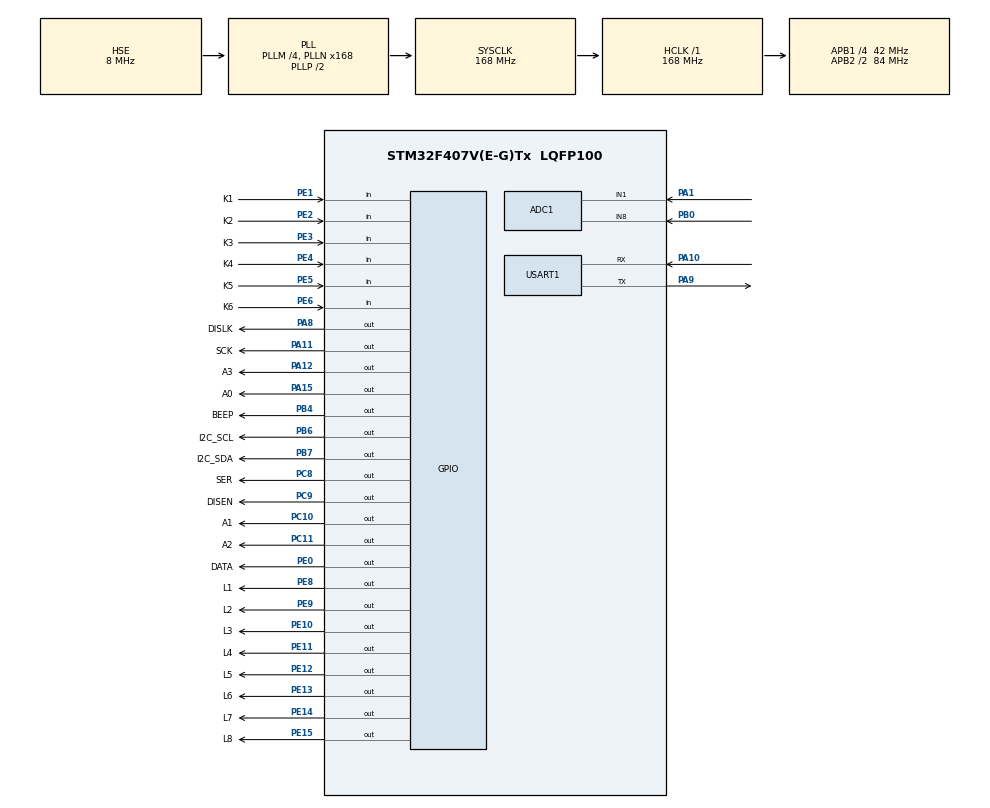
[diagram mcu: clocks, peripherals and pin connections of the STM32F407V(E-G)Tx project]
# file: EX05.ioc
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ADC1.Channel-0\#ChannelRegularConversion=ADC_CHANNEL_8
ADC1.Channel-1\#ChannelRegularConversion=ADC_CHANNEL_1
ADC1.ContinuousConvMode=ENABLE
ADC1.DMAContinuousRequests=ENABLE
ADC1.DiscontinuousConvMode=DISABLE
ADC1.NbrOfConversion=2
ADC1.NbrOfConversionFlag=1
ADC1.Rank-0\#ChannelRegularConversion=1
ADC1.Rank-1\#ChannelRegularConversion=2
ADC1.SamplingTime-0\#ChannelRegularConversion=ADC_SAMPLETIME_480CYCLES
ADC1.SamplingTime-1\#ChannelRegularConversion=ADC_SAMPLETIME_480CYCLES
ADC1.ScanConvMode=ENABLE
ADC1.master=1
Dma.ADC1.1.Direction=DMA_PERIPH_TO_MEMORY
Dma.ADC1.1.FIFOMode=DMA_FIFOMODE_DISABLE
Dma.ADC1.1.Instance=DMA2_Stream0
Dma.ADC1.1.MemDataAlignment=DMA_MDATAALIGN_HALFWORD
Dma.ADC1.1.MemInc=DMA_MINC_ENABLE
Dma.ADC1.1.Mode=DMA_CIRCULAR
Dma.ADC1.1.PeriphDataAlignment=DMA_PDATAALIGN_HALFWORD
Dma.ADC1.1.PeriphInc=DMA_PINC_DISABLE
Dma.ADC1.1.Priority=DMA_PRIORITY_LOW
Dma.Request0=USART1_RX
Dma.Request1=ADC1
Dma.USART1_RX.0.Direction=DMA_PERIPH_TO_MEMORY
Dma.USART1_RX.0.FIFOMode=DMA_FIFOMODE_DISABLE
Dma.USART1_RX.0.Instance=DMA2_Stream2
Dma.USART1_RX.0.MemDataAlignment=DMA_MDATAALIGN_BYTE
Dma.USART1_RX.0.MemInc=DMA_MINC_ENABLE
Dma.USART1_RX.0.Mode=DMA_NORMAL
Dma.USART1_RX.0.PeriphDataAlignment=DMA_PDATAALIGN_BYTE
Dma.USART1_RX.0.PeriphInc=DMA_PINC_DISABLE
Dma.USART1_RX.0.Priority=DMA_PRIORITY_LOW
FREERTOS.Tasks01=TaskMAIN,24,256,StartTaskMAIN,Default,NULL,Dynamic,NULL,NULL;TaskLED,8,256,StartTaskLED,Default,NULL,Dynamic,NULL,NULL;TaskKEY,8,256,StartTaskKEY,Default,NULL,Dynamic,NULL,NULL;TaskGUI,8,128,StartTaskGUI,Default,NULL,Dynamic,NULL,NULL;TaskBEEP,8,128,StartTaskBEEP,Default,NULL,Dynamic,NULL,NULL
Mcu.Family=STM32F4
Mcu.Name=STM32F407V(E-G)Tx
Mcu.Package=LQFP100
NVIC.ADC_IRQn=true\:5\:0\:false\:false\:true\:true\:true\:true
NVIC.DMA2_Stream0_IRQn=true\:5\:0\:false\:false\:true\:true\:false\:true
NVIC.DMA2_Stream2_IRQn=true\:5\:0\:false\:false\:true\:true\:false\:true
NVIC.PriorityGroup=NVIC_PRIORITYGROUP_4
NVIC.TIM1_BRK_TIM9_IRQn=true\:0\:0\:false\:false\:true\:false\:false\:true
NVIC.TimeBase=TIM1_BRK_TIM9_IRQn
NVIC.TimeBaseIP=TIM9
NVIC.USART1_IRQn=true\:5\:0\:false\:false\:true\:true\:true\:true
PA1.Signal=ADCx_IN1
PA10.Mode=Asynchronous
PA10.Signal=USART1_RX
PA11.GPIO_Label=SCK
PA11.Signal=GPIO_Output
PA12.GPIO_Label=A3
PA12.Signal=GPIO_Output
PA13.Mode=Serial_Wire
PA13.Signal=SYS_JTMS-SWDIO
PA14.Mode=Serial_Wire
PA14.Signal=SYS_JTCK-SWCLK
PA15.GPIO_Label=A0
PA15.Signal=GPIO_Output
PA8.GPIO_Label=DISLK
PA8.Signal=GPIO_Output
PA9.Mode=Asynchronous
PA9.Signal=USART1_TX
PB0.Signal=ADCx_IN8
PB4.GPIO_Label=BEEP
PB4.Signal=GPIO_Output
PB6.GPIO_Label=I2C_SCL
PB6.Signal=GPIO_Output
PB7.GPIO_Label=I2C_SDA
PB7.Signal=GPIO_Output
PC10.GPIO_Label=A1
PC10.Signal=GPIO_Output
PC11.GPIO_Label=A2
PC11.Signal=GPIO_Output
PC8.GPIO_Label=SER
PC8.Signal=GPIO_Output
PC9.GPIO_Label=DISEN
PC9.Signal=GPIO_Output
PE0.GPIO_Label=DATA
PE0.Signal=GPIO_Output
PE1.GPIO_Label=K1
PE1.GPIO_PuPd=GPIO_PULLUP
PE1.Signal=GPIO_Input
PE10.GPIO_Label=L3
PE10.GPIO_ModeDefaultOutputPP=GPIO_MODE_OUTPUT_PP
PE10.GPIO_PuPd=GPIO_NOPULL
PE10.GPIO_Speed=GPIO_SPEED_FREQ_LOW
PE10.PinState=GPIO_PIN_SET
PE10.Signal=GPIO_Output
PE11.GPIO_Label=L4
PE11.GPIO_ModeDefaultOutputPP=GPIO_MODE_OUTPUT_PP
PE11.GPIO_PuPd=GPIO_NOPULL
PE11.GPIO_Speed=GPIO_SPEED_FREQ_LOW
PE11.PinState=GPIO_PIN_SET
PE11.Signal=GPIO_Output
PE12.GPIO_Label=L5
PE12.GPIO_ModeDefaultOutputPP=GPIO_MODE_OUTPUT_PP
PE12.GPIO_PuPd=GPIO_NOPULL
PE12.GPIO_Speed=GPIO_SPEED_FREQ_LOW
PE12.PinState=GPIO_PIN_SET
PE12.Signal=GPIO_Output
PE13.GPIO_Label=L6
PE13.GPIO_ModeDefaultOutputPP=GPIO_MODE_OUTPUT_PP
PE13.GPIO_PuPd=GPIO_NOPULL
PE13.GPIO_Speed=GPIO_SPEED_FREQ_LOW
PE13.PinState=GPIO_PIN_SET
PE13.Signal=GPIO_Output
PE14.GPIO_Label=L7
PE14.GPIO_ModeDefaultOutputPP=GPIO_MODE_OUTPUT_PP
PE14.GPIO_PuPd=GPIO_NOPULL
PE14.GPIO_Speed=GPIO_SPEED_FREQ_LOW
PE14.PinState=GPIO_PIN_SET
PE14.Signal=GPIO_Output
PE15.GPIO_Label=L8
PE15.GPIO_ModeDefaultOutputPP=GPIO_MODE_OUTPUT_PP
PE15.GPIO_PuPd=GPIO_NOPULL
PE15.GPIO_Speed=GPIO_SPEED_FREQ_LOW
PE15.PinState=GPIO_PIN_SET
PE15.Signal=GPIO_Output
PE2.GPIO_Label=K2
PE2.GPIO_PuPd=GPIO_PULLUP
PE2.Signal=GPIO_Input
PE3.GPIO_Label=K3
PE3.GPIO_PuPd=GPIO_PULLUP
PE3.Signal=GPIO_Input
PE4.GPIO_Label=K4
PE4.GPIO_PuPd=GPIO_PULLUP
PE4.Signal=GPIO_Input
PE5.GPIO_Label=K5
PE5.GPIO_PuPd=GPIO_PULLDOWN
PE5.Signal=GPIO_Input
PE6.GPIO_Label=K6
PE6.GPIO_PuPd=GPIO_PULLDOWN
PE6.Signal=GPIO_Input
PE8.GPIO_Label=L1
PE8.GPIO_ModeDefaultOutputPP=GPIO_MODE_OUTPUT_PP
PE8.GPIO_PuPd=GPIO_NOPULL
PE8.GPIO_Speed=GPIO_SPEED_FREQ_LOW
PE8.PinState=GPIO_PIN_SET
PE8.Signal=GPIO_Output
PE9.GPIO_Label=L2
PE9.GPIO_ModeDefaultOutputPP=GPIO_MODE_OUTPUT_PP
PE9.GPIO_PuPd=GPIO_NOPULL
PE9.GPIO_Speed=GPIO_SPEED_FREQ_LOW
PE9.PinState=GPIO_PIN_SET
PE9.Signal=GPIO_Output
PH0-OSC_IN.Mode=HSE-External-Oscillator
PH0-OSC_IN.Signal=RCC_OSC_IN
PH1-OSC_OUT.Mode=HSE-External-Oscillator
PH1-OSC_OUT.Signal=RCC_OSC_OUT
ProjectManager.HeapSize=0x200
ProjectManager.StackSize=0x400
ProjectManager.TargetToolchain=MDK-ARM V5.27
RCC.48MHZClocksFreq_Value=84000000
RCC.AHBFreq_Value=168000000
RCC.APB1CLKDivider=RCC_HCLK_DIV4
RCC.APB1Freq_Value=42000000
RCC.APB1TimFreq_Value=84000000
RCC.APB2CLKDivider=RCC_HCLK_DIV2
RCC.APB2Freq_Value=84000000
RCC.APB2TimFreq_Value=168000000
RCC.CortexFreq_Value=168000000
RCC.HCLKFreq_Value=168000000
RCC.HSE_VALUE=8000000
RCC.HSI_VALUE=16000000
RCC.LSE_VALUE=32768
RCC.PLLM=4
RCC.PLLN=168
RCC.PLLSourceVirtual=RCC_PLLSOURCE_HSE
RCC.SYSCLKFreq_VALUE=168000000
RCC.SYSCLKSource=RCC_SYSCLKSOURCE_PLLCLK
RCC.VCOOutputFreq_Value=336000000
SH.ADCx_IN1.0=ADC1_IN1,IN1
SH.ADCx_IN8.0=ADC1_IN8,IN8
USART1.VirtualMode=VM_ASYNC
VP_FREERTOS_VS_CMSIS_V2.Mode=CMSIS_V2
VP_SYS_VS_tim9.Mode=TIM9
board=custom

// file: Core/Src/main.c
/* USER CODE BEGIN Header */
/**
  ******************************************************************************
  * @file           : main.c
  * @brief          : Main program body
  ******************************************************************************
  * @attention
  *
  * <h2><center>&copy; Copyright (c) 2021 STMicroelectronics.
  * All rights reserved.</center></h2>
  *
  * This software component is licensed by ST under Ultimate Liberty license
  * SLA0044, the "License"; You may not use this file except in compliance with
  * the License. You may obtain a copy of the License at:
  *                             www.st.com/SLA0044
  *
  ******************************************************************************
  */
/* USER CODE END Header */
#include "main.h"
#include "cmsis_os.h"
#include "adc.h"
#include "dma.h"
#include "usart.h"
#include "gpio.h"

void SystemClock_Config(void);
void MX_FREERTOS_Init(void);

int main(void)
{

  /* MCU Configuration--------------------------------------------------------*/

  /* Reset of all peripherals, Initializes the Flash interface and the Systick. */
  HAL_Init();

  /* Configure the system clock */
  SystemClock_Config();

  /* Initialize all configured peripherals */
  MX_GPIO_Init();
  MX_DMA_Init();
  MX_USART1_UART_Init();
  MX_ADC1_Init();

  /* Init scheduler */
  osKernelInitialize();  /* Call init function for freertos objects (in freertos.c) */
  MX_FREERTOS_Init();
  /* Start scheduler */
  osKernelStart();

  /* We should never get here as control is now taken by the scheduler */
  /* Infinite loop */
  while (1)
  {

  }
}

void SystemClock_Config(void)
{
  RCC_OscInitTypeDef RCC_OscInitStruct = {0};
  RCC_ClkInitTypeDef RCC_ClkInitStruct = {0};

  /** Configure the main internal regulator output voltage
  */
  __HAL_RCC_PWR_CLK_ENABLE();
  __HAL_PWR_VOLTAGESCALING_CONFIG(PWR_REGULATOR_VOLTAGE_SCALE1);
  /** Initializes the RCC Oscillators according to the specified parameters
  * in the RCC_OscInitTypeDef structure.
  */
  RCC_OscInitStruct.OscillatorType = RCC_OSCILLATORTYPE_HSE;
  RCC_OscInitStruct.HSEState = RCC_HSE_ON;
  RCC_OscInitStruct.PLL.PLLState = RCC_PLL_ON;
  RCC_OscInitStruct.PLL.PLLSource = RCC_PLLSOURCE_HSE;
  RCC_OscInitStruct.PLL.PLLM = 4;
  RCC_OscInitStruct.PLL.PLLN = 168;
  RCC_OscInitStruct.PLL.PLLP = RCC_PLLP_DIV2;
  RCC_OscInitStruct.PLL.PLLQ = 4;
  if (HAL_RCC_OscConfig(&RCC_OscInitStruct) != HAL_OK)
  {
    Error_Handler();
  }
  /** Initializes the CPU, AHB and APB buses clocks
  */
  RCC_ClkInitStruct.ClockType = RCC_CLOCKTYPE_HCLK|RCC_CLOCKTYPE_SYSCLK
                              |RCC_CLOCKTYPE_PCLK1|RCC_CLOCKTYPE_PCLK2;
  RCC_ClkInitStruct.SYSCLKSource = RCC_SYSCLKSOURCE_PLLCLK;
  RCC_ClkInitStruct.AHBCLKDivider = RCC_SYSCLK_DIV1;
  RCC_ClkInitStruct.APB1CLKDivider = RCC_HCLK_DIV4;
  RCC_ClkInitStruct.APB2CLKDivider = RCC_HCLK_DIV2;

  if (HAL_RCC_ClockConfig(&RCC_ClkInitStruct, FLASH_LATENCY_5) != HAL_OK)
  {
    Error_Handler();
  }
}

 /**
  * @brief  Period elapsed callback in non blocking mode
  * @note   This function is called  when TIM9 interrupt took place, inside
  * HAL_TIM_IRQHandler(). It makes a direct call to HAL_IncTick() to increment
  * a global variable "uwTick" used as application time base.
  * @param  htim : TIM handle
  * @retval None
  */
void HAL_TIM_PeriodElapsedCallback(TIM_HandleTypeDef *htim)
{
  if (htim->Instance == TIM9) {
    HAL_IncTick();
  }
}

void Error_Handler(void)
{
  __disable_irq();
  while (1)
  {
  }
}

/************************ (C) COPYRIGHT STMicroelectronics *****END OF FILE****/

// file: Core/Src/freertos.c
/* USER CODE BEGIN Header */
/**
  ******************************************************************************
  * File Name          : freertos.c
  * Description        : Code for freertos applications
  ******************************************************************************
  * @attention
  *
  * <h2><center>&copy; Copyright (c) 2021 STMicroelectronics.
  * All rights reserved.</center></h2>
  *
  * This software component is licensed by ST under Ultimate Liberty license
  * SLA0044, the "License"; You may not use this file except in compliance with
  * the License. You may obtain a copy of the License at:
  *                             www.st.com/SLA0044
  *
  ******************************************************************************
  */
/* USER CODE END Header */

#include "FreeRTOS.h"
#include "task.h"
#include "main.h"
#include "cmsis_os.h"

/* USER CODE BEGIN Includes */
#include "DS18B20.h"
#include "usart.h"
#include "stdio.h"
#include "adc.h"
#include "util.h"
#include "GUI.h"

//usart
#include "string.h"

#include "led.h"
/* USER CODE END Includes */

/* USER CODE BEGIN PM */
#define UI_LOGO 0
#define UI_MAIN 1
#define UI_DATA  2
#define UI_TEMP_LINE  3
#define UI_MIC_LINE 4
#define UI_TOUCH_LINE 5

/* USER CODE END PM */

/* USER CODE BEGIN Variables */
extern GUI_FLASH const GUI_FONT GUI_FontHZ_KaiTi_24;
extern GUI_FLASH const GUI_FONT GUI_FontHZ_KaiTi_16;
extern GUI_FLASH const GUI_FONT GUI_FontHZ_KaiTi_12;
extern GUI_FLASH const GUI_FONT GUI_FontHZ_SimSun_16;
extern GUI_CONST_STORAGE GUI_BITMAP bm2;

uint16_t val[16];
uint16_t adval1;
uint16_t adval2;

float temp;
char temp_data[10] = {0};
char mic_data[10] = {0};

float temp_tab[128];
int temp_idx=0;
uint16_t mic_tab[128];
int mic_idx=0;

uint8_t g_ui_indx = UI_LOGO;
uint8_t g_ui_select = UI_DATA;

static uint8_t flag = 0;
static uint8_t logo_flag = 0;
uint16_t beep_time;
uint8_t  beep_tune;

//led
uint8_t led_run=1; //运行
uint8_t led_sta=0x01;
//key
extern uint8_t key_sta;

//uart
#define MAX_RECV_LEN 256
#define MAX_LINE_SIZE 22
#define MAX_PAGE_LINE 6

uint8_t rx1_buff[MAX_RECV_LEN] = {0};
uint8_t recv_buff[MAX_RECV_LEN] = {0};//接收字符串缓存
uint8_t *pBuf;
uint8_t line_flag = 0;
uint32_t recv_tick = 0;

char gui_uart_buff[MAX_LINE_SIZE*8*10] = {0};
char str_show[MAX_RECV_LEN] = {0};
uint8_t gui_uart_index = 0;

uint8_t sense = 0;

//报警延时
int cnt = 0;
int led_flag = 0;

/* USER CODE END Variables */
/* Definitions for TaskMAIN */
osThreadId_t TaskMAINHandle;
const osThreadAttr_t TaskMAIN_attributes = {
  .name = "TaskMAIN",
  .stack_size = 256 * 4,
  .priority = (osPriority_t) osPriorityNormal,
};
/* Definitions for TaskLED */
osThreadId_t TaskLEDHandle;
const osThreadAttr_t TaskLED_attributes = {
  .name = "TaskLED",
  .stack_size = 256 * 4,
  .priority = (osPriority_t) osPriorityLow,
};
/* Definitions for TaskKEY */
osThreadId_t TaskKEYHandle;
const osThreadAttr_t TaskKEY_attributes = {
  .name = "TaskKEY",
  .stack_size = 256 * 4,
  .priority = (osPriority_t) osPriorityLow,
};
/* Definitions for TaskGUI */
osThreadId_t TaskGUIHandle;
const osThreadAttr_t TaskGUI_attributes = {
  .name = "TaskGUI",
  .stack_size = 128 * 4,
  .priority = (osPriority_t) osPriorityLow,
};
/* Definitions for TaskBEEP */
osThreadId_t TaskBEEPHandle;
const osThreadAttr_t TaskBEEP_attributes = {
  .name = "TaskBEEP",
  .stack_size = 128 * 4,
  .priority = (osPriority_t) osPriorityLow,
};

/* USER CODE BEGIN FunctionPrototypes */
void DrawUILOGO();
void DrawUIMAIN();
void DrawUIDATA();
void DrawUITEMPLINE();
void DrawUIMICLINE();
void DrawUITOUCHLINE();

//key
void Key1Done();
void Key2Done();
void Key3Done();
void Key4Done();

//uart
void data_analyse(char old_str[MAX_RECV_LEN],char str_show[MAX_RECV_LEN],int len);
void StrFormat(char oldstr[MAX_RECV_LEN],char fmtstr[MAX_LINE_SIZE*8*10],int len);

void start_alarm(void);

/* USER CODE END FunctionPrototypes */

void StartTaskMAIN(void *argument);
void StartTaskLED(void *argument);
void StartTaskKEY(void *argument);
void StartTaskGUI(void *argument);
void StartTaskBEEP(void *argument);

void MX_FREERTOS_Init(void); /* (MISRA C 2004 rule 8.1) */

void MX_FREERTOS_Init(void) {

  /* Create the thread(s) */
  /* creation of TaskMAIN */
  TaskMAINHandle = osThreadNew(StartTaskMAIN, NULL, &TaskMAIN_attributes);

  /* creation of TaskLED */
  TaskLEDHandle = osThreadNew(StartTaskLED, NULL, &TaskLED_attributes);

  /* creation of TaskKEY */
  TaskKEYHandle = osThreadNew(StartTaskKEY, NULL, &TaskKEY_attributes);

  /* creation of TaskGUI */
  TaskGUIHandle = osThreadNew(StartTaskGUI, NULL, &TaskGUI_attributes);

  /* creation of TaskBEEP */
  TaskBEEPHandle = osThreadNew(StartTaskBEEP, NULL, &TaskBEEP_attributes);

}

void StartTaskMAIN(void *argument)
{
  /* USER CODE BEGIN StartTaskMAIN */
	ds18b20_init();

  /* Infinite loop */
	uint32_t tick = osKernelGetTickCount()+100;

	HAL_ADC_Start_DMA(&hadc1,(uint32_t*)val,16);
  for(;;)
  {
		if(osKernelGetTickCount() >= tick){
			tick = osKernelGetTickCount()+100;
			temp = ds18b20_read();
			printf("temp = %5.1f adcval1=%5d adcval2=%5d\r\n",temp,adval1,adval2);

			if(temp_idx<128){
				temp_tab[temp_idx++]=temp;
			}
			else{
				memcpy((void*)temp_tab,(void*)(temp_tab+1),sizeof(float*)*127);
				temp_tab[127]=temp;
			}
			if(mic_idx<128){
				mic_tab[mic_idx++]=temp;
			}
			else{
				memcpy((void*)mic_tab,(void*)(mic_tab+1),sizeof(uint16_t)*127);
				mic_tab[127]=adval2;
			}
		}

    osDelay(1);
  }
  /* USER CODE END StartTaskMAIN */
}

void StartTaskLED(void *argument)
{
  /* USER CODE BEGIN StartTaskLED */
  /* Infinite loop */
  for(;;)
  {
		if(led_flag == 1){
			cnt++;
			if(cnt>=20){
				cnt = 0;
				led_flag = 0;
				Set_leds(0x00);
			}

		}

    osDelay(500);
  }
  /* USER CODE END StartTaskLED */
}

void StartTaskKEY(void *argument)
{
  /* USER CODE BEGIN StartTaskKEY */
  /* Infinite loop */
	uint8_t key;
  /* Infinite loop */
  for(;;)
  {
		key=ScanKey();

		switch (key)
		{
			case KEY1:
				Key1Done();
				break;
			case KEY2:
				g_ui_indx = UI_MAIN;
				break;
			case KEY3:
				Key3Done();
				break;
			case KEY4:
				Key4Done();

				break;
			case KEY5:
				g_ui_indx = UI_LOGO;
				break;
			case KEY6:
				g_ui_indx = UI_MAIN;
				break;
			default:
				break;
		}
    osDelay(50);
  }
  /* USER CODE END StartTaskKEY */
}

void StartTaskGUI(void *argument)
{
  /* USER CODE BEGIN StartTaskGUI */
	GUI_Init();

  /* Infinite loop */
  for(;;)
  {
		switch (g_ui_indx)
    {
    	case UI_LOGO:
				DrawUILOGO();
    		break;
    	case UI_MAIN:
				DrawUIMAIN();
    		break;
			case UI_DATA:
				DrawUIDATA();
    		break;
    	case UI_TEMP_LINE:
				DrawUITEMPLINE();
    		break;
    	case UI_MIC_LINE:
				DrawUIMICLINE();
				break;
			case UI_TOUCH_LINE:
				DrawUITOUCHLINE();
    		break;
    	default:
    		break;
    }

    osDelay(1);
  }
  /* USER CODE END StartTaskGUI */
}

void StartTaskBEEP(void *argument)
{
  for(;;)
  {
    osDelay(1);
  }
}

/* USER CODE BEGIN Application */
void HAL_ADC_ConvCpltCallback(ADC_HandleTypeDef* hadc)
{
	static uint8_t idx = 0;
	if(hadc == &hadc1)
	{
		int sum1,sum2;
		sum1 = sum2 = 0;
		for(int i = 0;i<16;i+=2){
			sum1 += val[i];
			sum2 += val[i+1];
		}

		adval1 = sum1/8;
		adval2 = sum2/8;

	}

}

void bmp_show(void)
{
	if(!flag){
		GUI_DrawBitmap(&bm2,(128-bm2.XSize)/2,0);
		GUI_Update();
		osDelay(3000);
		GUI_Clear();

		GUI_SetFont(&GUI_FontHZ_KaiTi_16);
		GUI_DispStringAt("嵌入式系统实验\n 19042223\n 孙若松 ",0,0);

		GUI_Update();
		flag = 1;
	}

}

void DrawUILOGO()
{

		if(logo_flag == 0){
			GUI_Clear();
			GUI_DrawBitmap(&bm2,(128-bm2.XSize)/2,0);
			GUI_Update();
			osDelay(2000);
			GUI_Clear();
			logo_flag = 1;
		}

		GUI_Clear();
		GUI_SetFont(&GUI_FontHZ_KaiTi_16);
		GUI_DispStringAt("19042223\n 孙若松",0,0);
		GUI_Update();
		osDelay(2000);

		g_ui_indx = UI_MAIN;

}

void DrawUIMAIN()
{

		GUI_Clear();
		GUI_SetFont(&GUI_FontHZ_KaiTi_16);
		GUI_SetTextAlign(GUI_TA_CENTER);
		GUI_DispStringAt("主菜单",64,0);

		if(g_ui_select<=UI_DATA){
			GUI_SetFont(&GUI_FontHZ_KaiTi_12);
			GUI_DispStringAt("即时数据",20,20);
			GUI_DispStringAt((g_ui_select == UI_DATA)? "*" : " ",10,20);
			GUI_DispStringAt("温度曲线",20,34);
			GUI_DispStringAt((g_ui_select == UI_TEMP_LINE)? "*" : " ",10,34);
			GUI_DispStringAt("麦克风曲线",20,48);
			GUI_DispStringAt((g_ui_select == UI_MIC_LINE)? "*" : " ",10,48);
		}
		else{
			GUI_SetFont(&GUI_FontHZ_KaiTi_12);
			GUI_DispStringAt("温度曲线",20,20);
			GUI_DispStringAt((g_ui_select == UI_TEMP_LINE)? "*" : " ",10,20);
			GUI_DispStringAt("麦克风曲线",20,34);
			GUI_DispStringAt((g_ui_select == UI_MIC_LINE)? "*" : " ",10,34);
			GUI_DispStringAt("灵敏度设置",20,48);
			GUI_DispStringAt((g_ui_select == UI_TOUCH_LINE)? "*" : " ",10,48);
		}
		GUI_Update();

}

void DrawUIDATA()
{
		GUI_Clear();
		GUI_SetFont(&GUI_FontHZ_KaiTi_16);
		GUI_SetTextAlign(GUI_TA_CENTER);
		GUI_DispStringAt("即时数据",64,0);

		GUI_SetFont(&GUI_FontHZ_KaiTi_12);
		GUI_DispStringAt("温度",20,20);
		myftoa_FD(temp,temp_data,2);
		GUI_DispStringAt("度",90,20);
		GUI_DispStringAt(temp_data,50,20);

		GUI_DispStringAt("麦克风",20,40);
		myftoa_FD(adval1*3.3/4096,mic_data,2);
		GUI_DispStringAt("v",90,40);
		GUI_DispStringAt(mic_data,60,40);

		memset(mic_data,0,sizeof(mic_data));
		memset(mic_data,0,sizeof(mic_data));
		GUI_Update();

}

void DrawUITEMPLINE()
{
		GUI_Clear();
		GUI_SetFont(&GUI_FontHZ_KaiTi_16);
//		GUI_SetTextAlign(GUI_TA_CENTER);
		GUI_DispStringAt("温度数据曲线",0,0);

		float temp_min=22;
		float temp_max=25;
		float temp_mid = (temp_min+temp_max)/2;
		float temp_height = (temp_max-temp_min)/2;

		for(int i=1;i<temp_idx;++i){
			int h1 = 16+24-(temp_tab[i]-temp_mid)*24/temp_height;
			int h0 = 16+24-(temp_tab[i-1]-temp_mid)*24/temp_height;
			GUI_DrawLine(i-1,h0,i,h1);
//			GUI_DrawPixel(i,h1);
		}

		GUI_Update();
}

void DrawUIMICLINE()
{
		GUI_Clear();
		GUI_SetFont(&GUI_FontHZ_KaiTi_16);
//		GUI_SetTextAlign(GUI_TA_CENTER);
		GUI_DispStringAt("麦克风曲线",0,0);
		GUI_Update();
		float mic_min=0;
		float mic_max=4095;
		float mic_mid = (mic_min+mic_max)/2;
		float mic_height = (mic_max-mic_min)/2;

		for(int i=1;i<temp_idx;++i){
			int h1 = 16+24-(mic_tab[i]-mic_mid)*24/mic_height;
			int h0 = 16+24-(mic_tab[i-1]-mic_mid)*24/mic_height;
			GUI_DrawLine(i-1,h0,i,h1);
		}

		GUI_Update();

}

void DrawUITOUCHLINE()
{
		GUI_Clear();
		GUI_SetFont(&GUI_FontHZ_KaiTi_16);
//		GUI_SetTextAlign(GUI_TA_CENTER);
		GUI_DispStringAt("灵敏度设置",40,0);

		GUI_DispStringAt("灵敏度等级",40,20);

		GUI_DispCharAt(sense+'0',50,40);

		if((4000-sense*160)<=adval2&&sense!=0){
			start_alarm();
		}

		GUI_Update();

}

void beep(uint16_t time,uint8_t tune)
{
	beep_time = time+osKernelGetTickCount();
	beep_tune = tune;
}

//按键响应函数
void Key1Done()
{
	switch (g_ui_indx)
	{
		case UI_MAIN:
			if(g_ui_select>UI_DATA)
				-- g_ui_select;
			break;

		case UI_TOUCH_LINE:
			if(sense>0)
				sense-=1;
			break;

		default:
			break;
	}
}

void Key2Done()
{
	switch (g_ui_indx)
	{
		case UI_DATA:
			printf("KEY2\r\n");
			gui_uart_index = (gui_uart_index+1)%10;
			break;

		default:
			break;
	}
}

void Key3Done()
{
	switch (g_ui_indx)
	{
		case UI_MAIN:
			g_ui_indx = g_ui_select;
			break;

		default:
			break;
	}
}

void Key4Done()
{
	switch (g_ui_indx)
	{
		case UI_MAIN:
			if(g_ui_select<UI_TOUCH_LINE)
				++ g_ui_select;
			break;
		case UI_TOUCH_LINE:
			if(sense<5)
				sense+=1;
			break;
		default:
			break;
	}
}
//uart接收部分

void HAL_UART_RxCpltCallback(UART_HandleTypeDef *UartHandle)
{
	if(UartHandle->Instance == USART1)
	{
		++pBuf;
		if(pBuf == rx1_buff + MAX_RECV_LEN)
			pBuf = rx1_buff;

		recv_tick = osKernelGetTickCount();

		__HAL_UNLOCK(UartHandle);
		HAL_UART_Receive_IT(UartHandle,pBuf,1);
	}

}

//串口接收处理逻辑,用于显示较短字符串

void data_analyse(char old_str[MAX_RECV_LEN],char str_show[MAX_RECV_LEN],int len)
{
	int row = 0,num = 0;//每行12字符
	for(int i=0;i<len;i++)
	{
		str_show[i] = old_str[i+row];
		num ++;
		if(num == 12){
			num = 0;
			row++;
			str_show[i+1] = '\n';
		}
	}

}

//strFormat格式化函数
void StrFormat(char oldstr[MAX_RECV_LEN],char fmtstr[MAX_LINE_SIZE*8*10],int len)
{
	int i,j,row = 0,col = 0;
	memset(fmtstr,0,MAX_LINE_SIZE*8*10);

	for(i = 0;i<len;++i)
	{
		if(oldstr[i]!='\n' && oldstr[i] != '\r')
		{
			fmtstr[row*MAX_LINE_SIZE+col] = oldstr[i];
			++col;

			if(col >= MAX_LINE_SIZE-1)
			{
				row++;
				col = 0;
			}

		}
		else
		{
			if(i>0&&oldstr[i-1]!='\r'&&oldstr[i-1]!='\n')
				row++;
			col = 0;
		}

		if(row >= 10)
		{
			break;
		}
	}
}

void start_alarm(void)
{
		Set_leds(0xff);
		cnt = 0;
		led_flag = 1;

}

/* USER CODE END Application */

/************************ (C) COPYRIGHT STMicroelectronics *****END OF FILE****/
